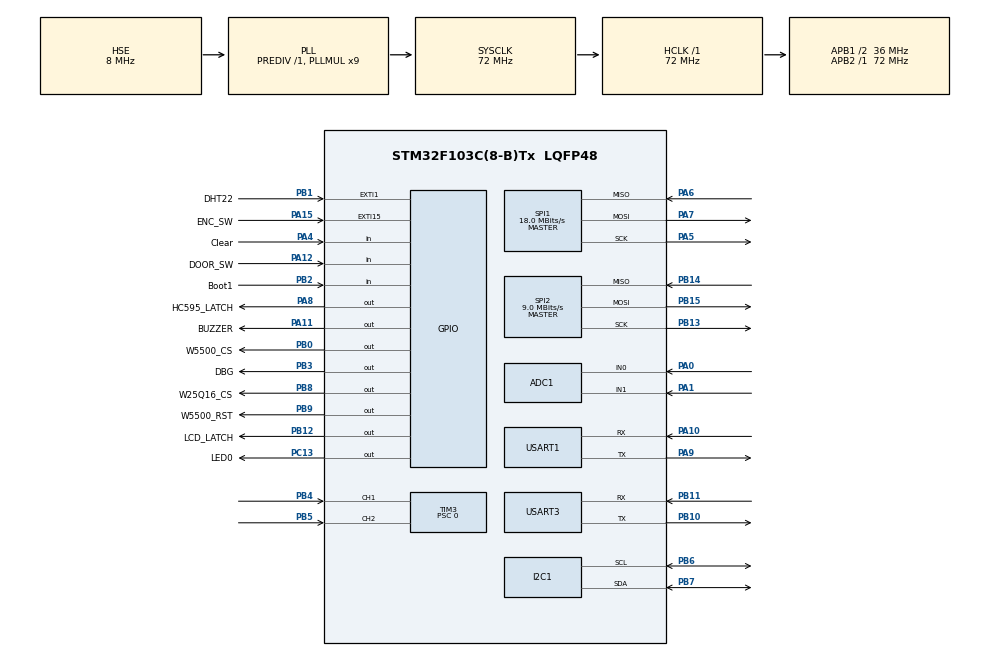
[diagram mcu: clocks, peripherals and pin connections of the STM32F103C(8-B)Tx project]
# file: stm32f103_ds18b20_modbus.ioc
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ADC1.Channel-0\#ChannelRegularConversion=ADC_CHANNEL_1
ADC1.ContinuousConvMode=ENABLE
ADC1.NbrOfConversion=1
ADC1.NbrOfConversionFlag=1
ADC1.Rank-0\#ChannelRegularConversion=1
ADC1.SamplingTime-0\#ChannelRegularConversion=ADC_SAMPLETIME_1CYCLE_5
ADC1.master=1
Dma.Request0=USART1_TX
Dma.Request1=USART3_RX
Dma.Request2=USART3_TX
Dma.USART1_TX.0.Direction=DMA_MEMORY_TO_PERIPH
Dma.USART1_TX.0.Instance=DMA1_Channel4
Dma.USART1_TX.0.MemDataAlignment=DMA_MDATAALIGN_BYTE
Dma.USART1_TX.0.MemInc=DMA_MINC_ENABLE
Dma.USART1_TX.0.Mode=DMA_NORMAL
Dma.USART1_TX.0.PeriphDataAlignment=DMA_PDATAALIGN_BYTE
Dma.USART1_TX.0.PeriphInc=DMA_PINC_DISABLE
Dma.USART1_TX.0.Priority=DMA_PRIORITY_LOW
Dma.USART3_RX.1.Direction=DMA_PERIPH_TO_MEMORY
Dma.USART3_RX.1.Instance=DMA1_Channel3
Dma.USART3_RX.1.MemDataAlignment=DMA_MDATAALIGN_BYTE
Dma.USART3_RX.1.MemInc=DMA_MINC_ENABLE
Dma.USART3_RX.1.Mode=DMA_NORMAL
Dma.USART3_RX.1.PeriphDataAlignment=DMA_PDATAALIGN_BYTE
Dma.USART3_RX.1.PeriphInc=DMA_PINC_DISABLE
Dma.USART3_RX.1.Priority=DMA_PRIORITY_LOW
Dma.USART3_TX.2.Direction=DMA_MEMORY_TO_PERIPH
Dma.USART3_TX.2.Instance=DMA1_Channel2
Dma.USART3_TX.2.MemDataAlignment=DMA_MDATAALIGN_BYTE
Dma.USART3_TX.2.MemInc=DMA_MINC_ENABLE
Dma.USART3_TX.2.Mode=DMA_NORMAL
Dma.USART3_TX.2.PeriphDataAlignment=DMA_PDATAALIGN_BYTE
Dma.USART3_TX.2.PeriphInc=DMA_PINC_DISABLE
Dma.USART3_TX.2.Priority=DMA_PRIORITY_LOW
I2C1.I2C_Mode=I2C_Fast
IWDG.Prescaler=IWDG_PRESCALER_32
IWDG.Reload=1250
Mcu.Family=STM32F1
Mcu.Name=STM32F103C(8-B)Tx
Mcu.Package=LQFP48
NVIC.DMA1_Channel2_IRQn=true\:2\:0\:true\:false\:true\:true\:true
NVIC.DMA1_Channel3_IRQn=true\:2\:0\:true\:false\:true\:true\:true
NVIC.DMA1_Channel4_IRQn=true\:8\:0\:true\:false\:true\:false\:true
NVIC.EXTI15_10_IRQn=true\:10\:0\:true\:false\:true\:true\:true
NVIC.EXTI1_IRQn=true\:0\:0\:false\:false\:true\:true\:true
NVIC.PriorityGroup=NVIC_PRIORITYGROUP_4
NVIC.RTC_IRQn=true\:0\:0\:false\:false\:true\:true\:true
NVIC.TIM3_IRQn=true\:0\:0\:false\:false\:true\:true\:true
NVIC.TIM4_IRQn=true\:0\:0\:false\:false\:true\:true\:true
NVIC.USART1_IRQn=true\:6\:0\:true\:false\:true\:true\:true
NVIC.USART3_IRQn=true\:1\:0\:true\:false\:true\:true\:true
PA0-WKUP.Signal=ADCx_IN0
PA1.Signal=ADCx_IN1
PA10.GPIO_PuPd=GPIO_NOPULL
PA10.Mode=Asynchronous
PA10.Signal=USART1_RX
PA11.GPIO_Label=BUZZER
PA11.Signal=GPIO_Output
PA12.GPIO_Label=DOOR_SW
PA12.GPIO_PuPd=GPIO_PULLUP
PA12.Signal=GPIO_Input
PA13.Mode=Serial_Wire
PA13.Signal=SYS_JTMS-SWDIO
PA14.Mode=Serial_Wire
PA14.Signal=SYS_JTCK-SWCLK
PA15.GPIO_Label=ENC_SW
PA15.GPIO_ModeDefaultEXTI=GPIO_MODE_IT_RISING_FALLING
PA15.GPIO_PuPd=GPIO_PULLUP
PA15.Signal=GPXTI15
PA2.Signal=USART2_TX
PA3.Signal=USART2_RX
PA4.GPIO_Label=Clear
PA4.GPIO_PuPd=GPIO_PULLUP
PA4.Signal=GPIO_Input
PA5.Mode=Full_Duplex_Master
PA5.Signal=SPI1_SCK
PA6.Mode=Full_Duplex_Master
PA6.Signal=SPI1_MISO
PA7.Mode=Full_Duplex_Master
PA7.Signal=SPI1_MOSI
PA8.GPIO_Label=HC595_LATCH
PA8.PinState=GPIO_PIN_SET
PA8.Signal=GPIO_Output
PA9.Mode=Asynchronous
PA9.Signal=USART1_TX
PB0.GPIO_Label=W5500_CS
PB0.Signal=GPIO_Output
PB1.GPIO_Label=DHT22
PB1.GPIO_ModeDefaultEXTI=GPIO_MODE_IT_RISING_FALLING
PB1.Signal=GPXTI1
PB10.Mode=Asynchronous
PB10.Signal=USART3_TX
PB11.Mode=Asynchronous
PB11.Signal=USART3_RX
PB12.GPIO_Label=LCD_LATCH
PB12.GPIO_ModeDefaultOutputPP=GPIO_MODE_OUTPUT_PP
PB12.GPIO_PuPd=GPIO_NOPULL
PB12.PinState=GPIO_PIN_SET
PB12.Signal=GPIO_Output
PB13.Mode=Full_Duplex_Master
PB13.Signal=SPI2_SCK
PB14.Mode=Full_Duplex_Master
PB14.Signal=SPI2_MISO
PB15.Mode=Full_Duplex_Master
PB15.Signal=SPI2_MOSI
PB2.GPIO_Label=Boot1
PB2.Signal=GPIO_Input
PB3.GPIO_Label=DBG
PB3.PinState=GPIO_PIN_SET
PB3.Signal=GPIO_Output
PB4.GPIO_PuPd=GPIO_PULLUP
PB4.Signal=S_TIM3_CH1
PB5.GPIO_PuPd=GPIO_PULLUP
PB5.Signal=S_TIM3_CH2
PB6.Mode=I2C
PB6.Signal=I2C1_SCL
PB7.Mode=I2C
PB7.Signal=I2C1_SDA
PB8.GPIO_Label=W25Q16_CS
PB8.Signal=GPIO_Output
PB9.GPIO_Label=W5500_RST
PB9.Signal=GPIO_Output
PC13-TAMPER-RTC.GPIO_Label=LED0
PC13-TAMPER-RTC.Signal=GPIO_Output
PC14-OSC32_IN.Mode=LSE-External-Oscillator
PC14-OSC32_IN.Signal=RCC_OSC32_IN
PC15-OSC32_OUT.Mode=LSE-External-Oscillator
PC15-OSC32_OUT.Signal=RCC_OSC32_OUT
PD0-OSC_IN.Mode=HSE-External-Oscillator
PD0-OSC_IN.Signal=RCC_OSC_IN
PD1-OSC_OUT.Mode=HSE-External-Oscillator
PD1-OSC_OUT.Signal=RCC_OSC_OUT
ProjectManager.HeapSize=0x200
ProjectManager.StackSize=0x400
ProjectManager.TargetToolchain=Makefile
RCC.ADCPresc=RCC_ADCPCLK2_DIV6
RCC.AHBFreq_Value=72000000
RCC.APB1CLKDivider=RCC_HCLK_DIV2
RCC.APB1Freq_Value=36000000
RCC.APB1TimFreq_Value=72000000
RCC.APB2Freq_Value=72000000
RCC.APB2TimFreq_Value=72000000
RCC.HCLKFreq_Value=72000000
RCC.PLLMUL=RCC_PLL_MUL9
RCC.PLLSourceVirtual=RCC_PLLSOURCE_HSE
RCC.RTCClockSelection=RCC_RTCCLKSOURCE_LSE
RCC.SYSCLKFreq_VALUE=72000000
RCC.SYSCLKSource=RCC_SYSCLKSOURCE_PLLCLK
RCC.USBFreq_Value=72000000
RTC.AutoPrediv=RTC_AUTO_1_SECOND
RTC.Format=RTC_FORMAT_BIN
RTC.OutPut=RTC_OUTPUTSOURCE_NONE
RTC.WeekDay=RTC_WEEKDAY_WEDNESDAY
RTC.Year=20
SH.ADCx_IN0.0=ADC1_IN0,IN0
SH.ADCx_IN1.0=ADC1_IN1,IN1
SH.S_TIM3_CH1.0=TIM3_CH1,Encoder_Interface
SH.S_TIM3_CH2.0=TIM3_CH2,Encoder_Interface
SPI1.BaudRatePrescaler=SPI_BAUDRATEPRESCALER_4
SPI1.CRCCalculation=SPI_CRCCALCULATION_DISABLE
SPI1.CalculateBaudRate=18.0 MBits/s
SPI1.Direction=SPI_DIRECTION_2LINES
SPI1.Mode=SPI_MODE_MASTER
SPI1.VirtualType=VM_MASTER
SPI2.BaudRatePrescaler=SPI_BAUDRATEPRESCALER_4
SPI2.CalculateBaudRate=9.0 MBits/s
SPI2.Direction=SPI_DIRECTION_2LINES
SPI2.FirstBit=SPI_FIRSTBIT_MSB
SPI2.Mode=SPI_MODE_MASTER
SPI2.VirtualType=VM_MASTER
TIM3.AutoReloadPreload=TIM_AUTORELOAD_PRELOAD_ENABLE
TIM3.ClockDivision=TIM_CLOCKDIVISION_DIV1
TIM3.CounterMode=TIM_COUNTERMODE_UP
TIM3.EncoderMode=TIM_ENCODERMODE_TI1
TIM3.IC1Filter=10
TIM3.IC1Polarity=TIM_ICPOLARITY_FALLING
TIM3.IC1Prescaler=TIM_ICPSC_DIV1
TIM3.IC2Filter=10
TIM3.IC2Polarity=TIM_ICPOLARITY_RISING
TIM3.IC2Prescaler=TIM_ICPSC_DIV1
TIM3.Period=0x7fff
TIM3.Prescaler=0
USART1.VirtualMode=VM_ASYNC
USART3.VirtualMode=VM_ASYNC
VP_ADC1_Vref_Input.Mode=IN-Vrefint
VP_IWDG_VS_IWDG.Mode=IWDG_Activate
VP_RTC_No_RTC_Output.Mode=RTC_OUT_NO
VP_RTC_VS_RTC_Activate.Mode=RTC_Enabled
VP_RTC_VS_RTC_Calendar.Mode=RTC_Calendar
VP_TIM4_VS_ClockSourceINT.Mode=Internal
board=custom

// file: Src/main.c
/* USER CODE BEGIN Header */
/**
  ******************************************************************************
  * @file           : main.c
  * @brief          : Main program body
  ******************************************************************************
  * @attention
  *
  * <h2><center>&copy; Copyright (c) 2020 STMicroelectronics.
  * All rights reserved.</center></h2>
  *
  * This software component is licensed by ST under BSD 3-Clause license,
  * the "License"; You may not use this file except in compliance with the
  * License. You may obtain a copy of the License at:
  *                        opensource.org/licenses/BSD-3-Clause
  *
  ******************************************************************************
  */

/*
  https://seriot.ch/ntp.php:
  echo $(( 0x`printf c%47s|nc -uw1 ntp.aggo-conicet.gob.ar 123|xxd -s40 -l4 -p`-64#23GDW0))

echo $(( 0x$(printf c%47s | nc -uw1 ntp.aggo-conicet.gob.ar 123|xxd -s40 -l4 -p) - 2208988800 ))

 Number of seconds between 1900 and 1970: 2208988800

*/

/* Add on stm32f1xx_it.c in function SysTick_Handler():

	if(ticks == 1000) {
		DHCP_time_handler();
		DNS_time_handler();
		ticks = 0;
	}

*/

/* USER CODE END Header */
#include "main.h"
#include "adc.h"
#include "dma.h"
#include "i2c.h"
#include "iwdg.h"
#include "rtc.h"
#include "spi.h"
#include "tim.h"
#include "usart.h"
#include "gpio.h"

/* USER CODE BEGIN Includes */

#include <string.h>
#include <stdarg.h>
#include <stdlib.h>
#include <stdio.h>
#include <time.h>

#include "my_config.h"
#include "my_w5500.h"
#include "my_tcp.h"
#include "my_rtc_time.h"
#include "huart_tools.h"

#if MY_CFG_18B20_ENABLE
#include "my_ds18b20.h"
#include "ds18b20.h"
#endif

#include "cmd.h"
#include "eeprom.h"
#include "my_menu.h"
#include "modbus.h"

#if MY_CFG_LCD_ENABLE
#include "lcd.h"
#include "my_lcd.h"
#endif

#include "Ethernet/socket.h"
#include "DHCP/dhcp.h"
#include "DNS/dns.h"

#ifndef MY_CFG_NTP_ENABLE
# define MY_CFG_NTP_ENABLE  0L
#endif

#if MY_CFG_NTP_ENABLE
#include "SNTP/sntp.h"
#endif

#if MY_CFG_ENCODER_ENABLE
#include "encoder_sw.h"
#endif

#if MY_CFG_BAROMETER_ENABLE
#include "bmp180.h"
#endif

#if MY_CFG_DHT_ENABLE
#include "dht.h"
#endif

/* USER CODE END Includes */

/* USER CODE BEGIN PD */

#define UNIXT_OFFSET 1577836800U /* date --date="2020-01-01 00:00:00" -u +%s */

/* USER CODE END PD */

/* USER CODE BEGIN PV */

volatile uint32_t sec_ticks = 0;
volatile uint32_t day_ticks = 0;
#if ! MY_CFG_RTC_ENABLE
volatile uint32_t skip_ms = 0;
#endif

uint8_t wdt_active = 0;
uint32_t conf_buff[SIZE_MY_CONF32] = {0,};
MY_CONF *my_conf = (MY_CONF *) conf_buff;
wiz_NetInfo *net_info_ee = NULL;
const uint32_t *eeprom_blk;
uint32_t cicle_break = 0;
uint32_t state = 0;
uint32_t adq_time = 0;
#if MY_CFG_NTP_ENABLE
int32_t ntp_diff = 0;
#endif

uint32_t door_sw_open_time = 0;
uint32_t door_sw_close_time = 0;

#if MY_CFG_BAROMETER_ENABLE
BMP180 *barometer = NULL;
uint32_t pressure = 0;
#endif

#if MY_CFG_NTP_ENABLE
static uint8_t ntp_data[MAX_SNTP_BUF_SIZE]={0};
#endif

#if MY_CFG_ENCODER_ENABLE
ENCODERROT enc;
#endif

#if MY_CFG_MODBUS_ENABLE
uint16_t coil_register = 0;
uint16_t dout_register;
#endif

#if MY_CFG_DHT_ENABLE
DHT dht22;
uint32_t dht_humidity;
int32_t dht_temperature;
#endif

/* USER CODE END PV */

void SystemClock_Config(void);

/* USER CODE BEGIN 0 */

void my_time_handler(void)
{

	sec_ticks++;
	DHCP_time_handler();
#if MY_CFG_DNS_ENABLE
	DNS_time_handler();
#endif
	if ( (sec_ticks % 86400) == 0) day_ticks++;
}

static void leds_run(void)
{
	static uint32_t sec_on = 0;
	static uint32_t count = 0;
	if ( state & ST_IP_ASSIGNED ) {
		if (sec_on != sec_ticks ) {
			LED1_ON;
			LED0_ON;
			sec_on = sec_ticks;
			count = 0;
		} else if ( count == 12 ) {
			LED1_OFF;
			LED0_OFF;
		}
	} else {
		if (count % 30 == 0) {
			LED1_TOGGLE;
			LED0_TOGGLE;
		}
	}
	count++;

	return;
}

uint16_t wdt_get_counter(void)
{
	uint32_t count;

	EE_READ_BLK(1, &count);
	if ( count == 0xffffffff )
		count = 0;

	return (uint16_t) count;
}

void wdt_increment_counter(void)
{
	int ret;
	int retry = 0;
	uint32_t count = wdt_get_counter() + 1;

	do {
		ret = EE_WRITE_BLK(1, &count);
	} while ( ret == 0 && retry++ < 3 );
}

static void main_ip_client_loop(void)
{
	int8_t ret = my_dhcp_run();

	if ( ret == DHCP_IP_LEASED || net_info_ee->dhcp == NETINFO_STATIC ) {
#if MY_CFG_NTP_ENABLE
		if ( !(state & ST_IP_ASSIGNED ) ) {
#  if MY_CFG_DNS_ENABLE
			wiz_NetInfo net_info;
			wizchip_getnetinfo(&net_info);
			uprintf(&huart1,"# [%ld] Resolving NTP server \"%s\"...\r\n", sec_ticks, my_conf->ntp_name);
			if( DNS_run(net_info.dns, my_conf->ntp_name, my_conf->ntp_ip) == 1) {
				uprintf(&huart1,"# [%ld] Result: %d.%d.%d.%d\r\n",
					sec_ticks,
					my_conf->ntp_ip[0],
					my_conf->ntp_ip[1],
					my_conf->ntp_ip[2],
					my_conf->ntp_ip[3]);
			}
#  endif
			/* 18: UTC-03:0, 22: UTC */
			SNTP_init(NTP_SOCKET, my_conf->ntp_ip, MY_TZ, ntp_data);

			uprintf(&huart1,"# [%ld] NTP server: %d.%d.%d.%d\r\n",
				sec_ticks, my_conf->ntp_ip[0],
				my_conf->ntp_ip[1], my_conf->ntp_ip[2],
				my_conf->ntp_ip[3]);

			cicle_break = 1;
			state |= ST_IP_ASSIGNED;
		}
#else
		if ( !(state & ST_IP_ASSIGNED) ) cicle_break = 1;
		state |= ST_IP_ASSIGNED;
#endif
	} else {
		cicle_break = 1;
		state &= ~(ST_IP_ASSIGNED);
	}
	return;
}

#if MY_CFG_NTP_ENABLE
static void main_ntp_loop(void)
{
	static uint32_t seconds_old = 0L;
	static uint32_t ntp_count = 0L;
	datetime time;

	if ( SNTP_run(&time) == 1 && (MNC_NTP_ENABLE() || state & ST_NTP_GET) ) {
		uint32_t seconds = 0U;
		ntp_count = 0;
		for (uint8_t _i = 40; _i < 44; _i++) {
			seconds = (seconds << 8) | ntp_data[_i];
		}
		/* Number of seconds between 1900 and 1970: */
		seconds -= 2208988800U;
		if ( (seconds - seconds_old) == 1 ){
			if ( !(state & (ST_NTP_SET | ST_NTP_FAIL)) &&
			     MNC_NTP_ENABLE() ) {
				my_HAL_Set_Unix_Time(&hrtc, seconds);
				ntp_diff = 0;
				state |= ST_NTP_SET;
			} else {
				uint32_t seconds_local = my_time(NULL);
				if ( seconds_local >= seconds ) {
					ntp_diff = seconds_local - seconds;
				} else {
					ntp_diff = seconds - seconds_local;
					ntp_diff *= -1;
				}
				state &= ~(ST_NTP_GET);
			}
			uprintf(&huart1,
				"# [%ld] %4d-%02d-%02d %02d:%02d:%02d [%lu] %s\r\n",
				sec_ticks, time.yy, time.mo, time.dd,
				time.hh, time.mm, time.ss, seconds,
				my_tz_str() );
		}
		seconds_old = seconds;
	} else if ( MNC_NTP_ENABLE() ) {
		if (ntp_count++ == 100)
			state |= ST_NTP_FAIL;
	}

	return;
}
#endif

#if MY_CFG_ENCODER_ENABLE || MY_CFG_DHT_ENABLE
void HAL_GPIO_EXTI_Callback(uint16_t GPIO_Pin)
{
#if MY_CFG_ENCODER_ENABLE
	if ( GPIO_Pin == enc.sw_pin ) {
		enc_switch_callback(&enc);
	}
#endif
#if MY_CFG_DHT_ENABLE
	if(GPIO_Pin == dht22.pin) {
		DHT_pin_change_callback(&dht22);
	}
#endif
	return;
}
#endif

#if MY_CFG_DHT_ENABLE
void HAL_TIM_PeriodElapsedCallback (TIM_HandleTypeDef * htim)
{

	if ( htim->Instance == DHT_timer->Instance ) DHT_timer_overflow ^= 1;

	return;
}
#endif

/* USER CODE END 0 */

int main(void)
{
  /* USER CODE BEGIN 1 */
  uint32_t *id = (uint32_t *) UID_BASE;
  int i = 0;
  uint32_t tickstart;
  const uint32_t wait = 4;
  uint32_t cicle_delta;
#if MY_CFG_NTP_ENABLE
  uint32_t day_now = 0;
#endif
  int8_t ret = 0;
  int rom_size = 0;
  int door_sw_open = -1;
#if MY_CFG_LCD_ENABLE
  uint32_t switch_state = 0;
  int clear_pin = 0;
#  if MY_CFG_ENCODER_ENABLE
  int esw1 = 0;
#  endif
#endif

  const MY_CONF my_conf_def = {
	  .ni = {
		  .mac  = { 0xfe, 0xde, MAC_MAGIC_PRJ,
			    (uint8_t)id[2], (uint8_t)id[1], (uint8_t)id[0] },
		  .dhcp = NETINFO_DHCP,
		  //.dhcp = NETINFO_STATIC,
	  },
	  /* ntp_name: Need MY_CFG_DNS_ENABLE: */
#if MY_CFG_DNS_ENABLE
	  .ntp_name = {"ntp.aggo-conicet.gob.ar"},
#else
	  .ntp_ip = {168,96,251,196}, /* ntp.aggo-conicet.gob.ar */
#endif
	  .mbport = 502,
	  .cfgport = 500,
	  .passwd = {0,},
	  .id = 0,
	  .ntp_enable = 1,
	  .lcd_to = 0, /* default disable display off */
  };
#if MY_CFG_18B20_ENABLE
  THER18B20ROM *th = my_18b20_get_rom_p();
#endif
  const uint32_t _eeprom_blk[] = {/* 4 bytes uinits: */
	  /* BLK 0 */ SIZE_MY_CONF32,
	  /* BLK 1 */ _eeprom_blk[i++] + 1, /* WDT counter */
	  /* BLK 2 */ _eeprom_blk[i++] + (sizeof(THER18B20ROM) >> 2),
	  /* BLK 3 */ 0,
  };
  eeprom_blk = _eeprom_blk;
  for(i=0; eeprom_blk[i] != 0; i++) rom_size+= eeprom_blk[i];

  /* USER CODE END 1 */

  /* MCU Configuration--------------------------------------------------------*/

  /* Reset of all peripherals, Initializes the Flash interface and the Systick. */
  HAL_Init();

  /* Configure the system clock */
  SystemClock_Config();

  /* USER CODE BEGIN SysInit */
#if 0 /* 0: disable all auto MX initialization. */
  /* USER CODE END SysInit */

  /* Initialize all configured peripherals */
  MX_GPIO_Init();
  MX_DMA_Init();
  MX_SPI1_Init();
  MX_USART1_UART_Init();
  MX_IWDG_Init();
  MX_RTC_Init();
  MX_USART3_UART_Init();
  MX_SPI2_Init();
  MX_ADC1_Init();
  MX_TIM3_Init();
  MX_I2C1_Init();
  MX_TIM4_Init();
  /* USER CODE BEGIN 2 */
#else
  MX_GPIO_Init();
  MX_DMA_Init();
  MX_SPI1_Init();
#if MY_CFG_UPRINTF_ENABLE
  MX_USART1_UART_Init();
#endif
#if  MY_CFG_WDT_ENABLE
  MX_IWDG_Init();
#endif
#if MY_CFG_RTC_ENABLE
  MX_RTC_Init();
#endif
#if MY_CFG_18B20_ENABLE
  MX_USART3_UART_Init();
#endif
#if MY_CFG_LCD_ENABLE
  MX_SPI2_Init();
#endif
//  MX_ADC1_Init();
#if MY_CFG_ENCODER_ENABLE
  MX_TIM3_Init();
#endif
#if MY_CFG_BAROMETER_ENABLE
  MX_I2C1_Init();
#endif
#if MY_CFG_DHT_ENABLE
  MX_TIM4_Init();
#endif
#endif

  /* Test for 74HC595: */
  /*
  uint8_t coil_val[] = {0xff,0xff};
  HAL_SPI_Transmit(&hspi2, coil_val, 2, 1);
  HAL_GPIO_WritePin(LCD_LATCH_GPIO_Port, LCD_LATCH_Pin, GPIO_PIN_RESET);
  HAL_GPIO_WritePin(LCD_LATCH_GPIO_Port, LCD_LATCH_Pin, GPIO_PIN_SET);
  */

  /* Hard Reset W5500 start: */
  HAL_GPIO_WritePin(W5500_RST_GPIO_Port, W5500_RST_Pin, GPIO_PIN_RESET);
  HAL_Delay(1); /* RESET should be held low at least 500 us for W5500: */
  HAL_GPIO_WritePin(W5500_RST_GPIO_Port, W5500_RST_Pin, GPIO_PIN_SET);

  tickstart = HAL_GetTick();

  uprintf(&huart1,
	  "\r\n# [%ld] STM32 %d KB FLASH, ID: %08X-%08X-%08X\r\n",
	  sec_ticks,
	  *((unsigned short *) FLASHSIZE_BASE), /* Flash in kB */
	  id[0], id[1], id[2]);
  uprintf(&huart1,"# [%ld] ROM %d B\r\n", sec_ticks, rom_size << 2);
  uprintf(&huart1,"# [%ld] CLK Freq: %ld Hz\r\n", sec_ticks,
	  HAL_RCC_GetHCLKFreq() );
#if MY_CFG_18B20_ENABLE
  my_18b20_init(&huart3);
#endif

  /*## Check if the system has resumed from IWDG reset ##*/
#if MY_CFG_WDT_ENABLE
  if(__HAL_RCC_GET_FLAG(RCC_FLAG_IWDGRST) != RESET) {
	  wdt_active = 1;
	  /* Clear reset flags */
	  __HAL_RCC_CLEAR_RESET_FLAGS();
	  wdt_increment_counter();

  } else {
	  /* IWDGRST flag is not set. */
	  wdt_active = 0;
  }
#endif

  net_info_ee = &(my_conf->ni);

  if ( HAL_GPIO_ReadPin(Clear_GPIO_Port, Clear_Pin) == 0 ) {
	  int _i;
	  int retry = 0;
	  /* Reset configuration: */
	  for ( _i = 0; _i < SIZE_MY_CONF32;_i++)
		  conf_buff[_i] = 0xffffffff;

	  do {
		  ret = EE_WRITE_BLK(0, conf_buff);
	  } while ( ret == 0 && retry++ < 3 );

  } else {
	  EE_READ_BLK(0, conf_buff);
  }
  if ( conf_buff[0] == 0xffffffff ) {
	  memcpy(my_conf, &my_conf_def, sizeof(MY_CONF) );
  }

  if ( net_info_ee->dhcp != 1 )
	  net_info_ee->dhcp = NETINFO_DHCP;

  /* Hard Reset W5500 end: */
  while ((HAL_GetTick() - tickstart) < 1);
  my_w5500_set_loggin_uart(&huart1);
  if ( my_w5500_init(&hspi1, net_info_ee) != 0 ) {
	  LED1_ON;
	  while(1);
  }
  LED0_OFF;

#if MY_CFG_18B20_ENABLE
  EE_READ_BLK(2, (uint32_t *) th);
  for(i = THERM_NUM -1; i && th->rom[i][0] == 0xff; i--) {
	  th->rom[i][0] = 0;
	  th->offset[i] = 0;
  }

  my_18b20_make_index_table();
#endif
#if MY_CFG_RTC_ENABLE
  /* Cofigure RTCCR register: (need only if battery is removed) */
  if ( MNC_RTCCR_ROM > 0 && MNC_RTCCR_ROM < 0x7f ) {
	  uint8_t bkpccr = READ_REG(BKP->RTCCR);
	  if ( (bkpccr & 0x7f) == 0 ) {
		  bkpccr = (bkpccr&0xff80) | (MNC_RTCCR_ROM & 0x7f);
		  WRITE_REG(BKP->RTCCR,  bkpccr);
	  }
  }
#else
  if ( MNC_RTCCR_ROM )
	  skip_ms = MNC_RTCCR_ROM * 1000;
#endif

//#if MY_CFG_NTP_ENABLE /* set anyway */
  SNTP_set_TZ(MY_TZ);
//#endif
#if MY_CFG_LCD_ENABLE
# if MY_CFG_LCD_I2C
  lcd_init_i2c (&hi2c1, LCD_ADDR);
# endif

# if MY_CFG_LCD_SPI
  //lcd_init_spi(&hspi2, HC595_LATCH_GPIO_Port, HC595_LATCH_Pin);
  lcd_init_spi(&hspi2, LCD_LATCH_GPIO_Port, LCD_LATCH_Pin);
# endif
  lcd_light_set(1);
  my_lcd_set_time_out(my_conf->lcd_to);
#endif

#if MY_CFG_WDT_ENABLE
  uprintf(&huart1,"# [%ld] WDT: %d\r\n", sec_ticks, wdt_active );
#endif

#if MY_CFG_MENUCFG_ENABLE
  set_prompt(TCP1_SOCKET, prompt_def);
  set_prompt(TCP2_SOCKET, prompt_def);
#endif
//  state |= ST_ADQ_ENABLE;

#if MY_CFG_ENCODER_ENABLE
  enc_init(&enc, &htim3,
	   ENC_SW_GPIO_Port,
	   ENC_SW_Pin
	  );
  enc_setup(&enc, 0, 1, 0, 1, 0, 0);
  //enc_setup_fc(&enc, 0, 100, 0, 1, 5, 1, 0, 0);
#endif

#if MY_CFG_BAROMETER_ENABLE
  barometer = bmp180_init(&hi2c1, BMP180_ADDR, BMP180_CMD_PRESSURE3);
#endif

#if MY_CFG_DHT_ENABLE
  DHT_init_timer(&htim4);
  DHT_init(&dht22, DHT22_GPIO_Port, DHT22_Pin);
#endif

  /* USER CODE END 2 */

  /* Infinite loop */
  while (1) {

    /* USER CODE BEGIN 3 */
	  tickstart = HAL_GetTick();
#if MY_CFG_WDT_ENABLE
	  HAL_IWDG_Refresh(&hiwdg);
#endif

#if MY_CFG_LCD_ENABLE
	  if ( HAL_GPIO_ReadPin(Clear_GPIO_Port, Clear_Pin) == 0
#  if MY_CFG_ENCODER_ENABLE
	       || (enc_get_sw(&enc, 1) != esw1)
#  endif
		  ) {
		  if ( clear_pin == 0 ) {
			  //HAL_StatusTypeDef st;
			  switch_state |= 0x11; // 0x12 for (-) sw.
			  clear_pin = 1;
			  /*
			    st = HAL_ADC_Start (&hadc1);
			    if ( st == HAL_OK ) {
			    st = HAL_ADC_PollForConversion (&hadc1, 2);
			    #if MY_CFG_UPRINTF_ENABLE
			    if ( st == HAL_OK ) {
			    uint32_t val;
			    val = HAL_ADC_GetValue (&hadc1);
			    uprintf(&huart1,"# [%ld] %ld\r\n",
			    sec_ticks, val);
			    }
			    #endif
			    }
			    HAL_ADC_Stop (&hadc1);
			  */
#  if MY_CFG_ENCODER_ENABLE
			  esw1 = enc_get_sw(&enc, 1);
#  endif

		  }
	  } else {
		  clear_pin = 0;
	  }
#endif
	  if ( !(state & ST_ERR) ) {
		  leds_run();
#if MY_CFG_LCD_ENABLE
		  if ( switch_state & 0x20 ) {
			  switch_state &= ~0x20;
			  my_lcd_set_time_out(my_conf->lcd_to);
		  }
#endif
	  } else {
		  LED1_ON;
		  LED0_ON;
#if MY_CFG_LCD_ENABLE
		  if ( !(switch_state & 0x20) ) {
			  switch_state = (0x20|0x04);
			  my_lcd_set_time_out(0);
			  lcd_light_set(1);
		  }
#endif
	  }
	  if ( sec_ticks == 3 ) {
		  state |= ST_ADQ_ENABLE;
	  }
	  if ( sec_ticks > 8 ) { /* W5500 need ~9 secs to start */
		  main_ip_client_loop();
	  }
#if MY_CFG_NTP_ENABLE
	  if( (state & ST_IP_ASSIGNED)  &&
	      (!(state & (ST_NTP_SET | ST_NTP_FAIL) ) ||
	       (state & ST_NTP_GET) )     	           ) {
		  main_ntp_loop();
	  }
	  if ( day_ticks != day_now ) {
		  day_now = day_ticks;
		  if ( MNC_NTP_ENABLE() ) state &= ~ST_NTP_SET;
	  }
#endif
	  /* ALL: */

	  /* ModBus digital registers: */
#if MY_CFG_MODBUS_ENABLE
	  dout_register = 0;
	  if ( HAL_GPIO_ReadPin(DOOR_SW_GPIO_Port, DOOR_SW_Pin) == 1 )
			dout_register |= 0x01;
	  if ( HAL_GPIO_ReadPin(Clear_GPIO_Port, Clear_Pin) == 0 )
			dout_register |= 0x0100;

	  /*
	    coil_val[0] = ~ (coil_register);
	    coil_val[1] = ~ (coil_register >> 8);
	    HAL_SPI_Transmit(&hspi2, coil_val, 1, 1);
	    HAL_GPIO_WritePin(LCD_LATCH_GPIO_Port, LCD_LATCH_Pin, GPIO_PIN_RESET);
	    HAL_GPIO_WritePin(LCD_LATCH_GPIO_Port, LCD_LATCH_Pin, GPIO_PIN_SET);
	    //HAL_GPIO_WritePin(HC595_LATCH_GPIO_Port, HC595_LATCH_Pin, GPIO_PIN_RESET);
	    //HAL_GPIO_WritePin(HC595_LATCH_GPIO_Port, HC595_LATCH_Pin, GPIO_PIN_SET);
	    */

#endif

	  /* Door monitor: */
	  if ( HAL_GPIO_ReadPin(DOOR_SW_GPIO_Port, DOOR_SW_Pin) == 1
	       //HAL_GPIO_ReadPin(Clear_GPIO_Port, Clear_Pin) == 0
		  ) {
		  if ( door_sw_open != 1) {
			  /* Door open */
			  if ( door_sw_open == 0 ) {
				  door_sw_open_time = my_time(NULL);
			  }
			  door_sw_open = 1;
			  if (DOOR_BUZZER_ENABLE) BUZZER_ON;
		  }
	  } else if (door_sw_open != 0) {
		  if ( door_sw_open == 1 ) {
			  door_sw_close_time = my_time(NULL);
		  }
		  door_sw_open = 0;
		  /*if (DOOR_BUZZER_ENABLE)*/ BUZZER_OFF;
	  }

	  /* TCP servers loops: */
	  if ( state & ST_IP_ASSIGNED ) {
#if MY_CFG_MODBUS_ENABLE
		  mb_run(TCP0_SOCKET, my_conf->mbport);
		  mb_run(TCP7_SOCKET, my_conf->mbport);
#endif
#if MY_CFG_MENUCFG_ENABLE
		  my_menu_p500_run(TCP1_SOCKET, my_conf->cfgport);
		  my_menu_p500_run(TCP2_SOCKET, my_conf->cfgport);
#endif
	  }

	  /* Thermometers loop: */
#if MY_CFG_18B20_ENABLE
	  ret = -1;
	  if ( state & ST_ADQ_ENABLE ) {
		  ret = my_18b20_loop();
	  } else if ( state & ST_TH_SCAN ) {
		  my_18b20_scan();
		  cicle_break = 1;
	  }
#endif

	  /* LCD loop: */
#if MY_CFG_LCD_ENABLE
	  if ( sec_ticks == 14 ) {
		  /* switch to TIME in LCD: */
		  my_lcd_run(0x08);
	  } else {
		  my_lcd_run(switch_state & 0x07);
		  switch_state &= ~0x07;
	  }
#endif

	  /* Barometer loop: */
#if MY_CFG_BAROMETER_ENABLE
	  if ( baro_loop(barometer) ) {
		  pressure = (uint32_t) BMP180_GET_PRESSURE(barometer);
	  }
#endif
	  /* DHT22 (Hydrometer) loop: */
#if MY_CFG_DHT_ENABLE
	  if ( DHT_read_data(&dht22) == 0 ) {
		  dht_humidity = dht22.humidity;
		  dht_temperature = dht22.temperature;
	  } else if (dht22.data_valid == 0 && dht_humidity) {
		  dht_humidity = 0;
		  dht_temperature = -85;
		  state |= ST_DHT_ERR;
	  }
#endif
	  /* CHK main loop integrity: */
	  cicle_delta = HAL_GetTick() - tickstart;
	  if ( cicle_delta > wait ) {
		  if ( cicle_break ) {
			  cicle_break = 0;
		  } else {
			  state |= ST_LOOP_ERR;
			  uprintf(&huart1,
				  "# [%ld] Error: cicle time: %ld ms\r\n",
				  sec_ticks, cicle_delta);
		  }
	  }
	  while ((HAL_GetTick() - tickstart) < wait);

  }
  /* USER CODE END 3 */
}

void SystemClock_Config(void)
{
  RCC_OscInitTypeDef RCC_OscInitStruct = {0};
  RCC_ClkInitTypeDef RCC_ClkInitStruct = {0};
  RCC_PeriphCLKInitTypeDef PeriphClkInit = {0};

  /** Initializes the RCC Oscillators according to the specified parameters
  * in the RCC_OscInitTypeDef structure.
  */
  RCC_OscInitStruct.OscillatorType = RCC_OSCILLATORTYPE_LSI|RCC_OSCILLATORTYPE_HSE
                              |RCC_OSCILLATORTYPE_LSE;
  RCC_OscInitStruct.HSEState = RCC_HSE_ON;
  RCC_OscInitStruct.HSEPredivValue = RCC_HSE_PREDIV_DIV1;
  RCC_OscInitStruct.LSEState = RCC_LSE_ON;
  RCC_OscInitStruct.HSIState = RCC_HSI_ON;
  RCC_OscInitStruct.LSIState = RCC_LSI_ON;
  RCC_OscInitStruct.PLL.PLLState = RCC_PLL_ON;
  RCC_OscInitStruct.PLL.PLLSource = RCC_PLLSOURCE_HSE;
  RCC_OscInitStruct.PLL.PLLMUL = RCC_PLL_MUL9;
  if (HAL_RCC_OscConfig(&RCC_OscInitStruct) != HAL_OK)
  {
    Error_Handler();
  }
  /** Initializes the CPU, AHB and APB buses clocks
  */
  RCC_ClkInitStruct.ClockType = RCC_CLOCKTYPE_HCLK|RCC_CLOCKTYPE_SYSCLK
                              |RCC_CLOCKTYPE_PCLK1|RCC_CLOCKTYPE_PCLK2;
  RCC_ClkInitStruct.SYSCLKSource = RCC_SYSCLKSOURCE_PLLCLK;
  RCC_ClkInitStruct.AHBCLKDivider = RCC_SYSCLK_DIV1;
  RCC_ClkInitStruct.APB1CLKDivider = RCC_HCLK_DIV2;
  RCC_ClkInitStruct.APB2CLKDivider = RCC_HCLK_DIV1;

  if (HAL_RCC_ClockConfig(&RCC_ClkInitStruct, FLASH_LATENCY_2) != HAL_OK)
  {
    Error_Handler();
  }
  PeriphClkInit.PeriphClockSelection = RCC_PERIPHCLK_RTC|RCC_PERIPHCLK_ADC;
  PeriphClkInit.RTCClockSelection = RCC_RTCCLKSOURCE_LSE;
  PeriphClkInit.AdcClockSelection = RCC_ADCPCLK2_DIV6;
  if (HAL_RCCEx_PeriphCLKConfig(&PeriphClkInit) != HAL_OK)
  {
    Error_Handler();
  }
}

/* USER CODE BEGIN 4 */

#if MY_CFG_DEBUG
/*
int __io_putchar(int ch)
{
	ITM_SendChar(ch);
	return(ch);
}

int _write(int file, char *ptr, int len)
{
	int DataIdx;
	for (DataIdx = 0; DataIdx < len; DataIdx++)
	{
		__io_putchar(*ptr++);
	}
	return len;
}
*/

int _write(int file, char *ptr, int len)
{
	/*
	  http://eeblog.co.uk/2018/11/29/swo-with-cubemx-using-st-link-clones/
	*/
#if (MY_CFG_DEBUG == 2)
	int DataIdx;

	for(DataIdx=0; DataIdx<len; DataIdx++)
	{
		ITM_SendChar(*ptr++);
	}
#else
	static char buff[80];
	if ( len > 80 ) len = 80;
	while( huart1.gState != HAL_UART_STATE_READY);
	memcpy(buff,ptr,len);
	HAL_UART_Transmit_DMA(&huart1, (uint8_t *) buff, len);

#endif
	return len;
}
#endif

void HAL_UART_TxCpltCallback(UART_HandleTypeDef *uarth){
#if MY_CFG_18B20_ENABLE
	if (uarth->Instance == OneWire_UART_Instance() /*USART3*/){
		OneWire_TxCpltCallback();
	}
#endif
}

void HAL_UART_RxCpltCallback(UART_HandleTypeDef *uarth){
#if MY_CFG_18B20_ENABLE
	if (uarth->Instance == OneWire_UART_Instance() /*USART3*/){
			OneWire_RxCpltCallback();
		}
#endif
}

/* USER CODE END 4 */

void Error_Handler(void)
{
}

/************************ (C) COPYRIGHT STMicroelectronics *****END OF FILE****/
